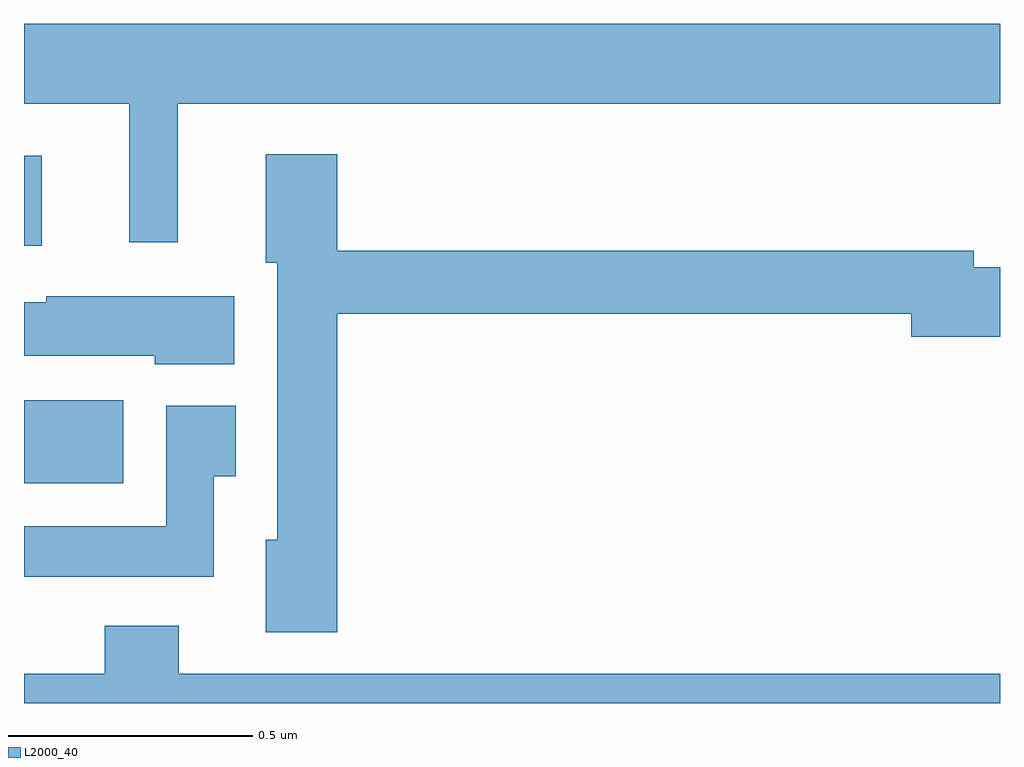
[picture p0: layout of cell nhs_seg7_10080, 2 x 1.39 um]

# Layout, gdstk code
import gdstk
lib = gdstk.Library(unit=1e-6, precision=1e-09)
def R(c, l, rs):  # rectangles x0, y0, x1, y1
    for r in rs: c.add(gdstk.rectangle(r[:2], r[2:], *l))
def P(c, l, *ps):  # polygons
    for p in ps: c.add(gdstk.Polygon(p, *l))
L2000_40 = (2000, 40)

nhs_seg7_10080 = lib.new_cell('nhs_seg7_10080')
R(nhs_seg7_10080, L2000_40, [(245,1054.451,245.203,1054.621), (245,1054.937,245.036,1055.122)])
P(nhs_seg7_10080, L2000_40, [(245.315,1055.228),(247,1055.228),(247,1055.392),(245,1055.392),(245,1055.228),(245.216,1055.228),(245.216,1054.944),(245.315,1054.944)],
  [(245.642,1054.798),(246.818,1054.798),(246.818,1054.751),(247,1054.751),(247,1054.893),(246.946,1054.893),(246.946,1054.927),(245.642,1054.927),(245.642,1055.125),(245.495,1055.125),(245.495,1054.902),(245.519,1054.902),(245.519,1054.335),(245.495,1054.335),(245.495,1054.145),(245.642,1054.145)],
  [(245.431,1054.834),(245.046,1054.834),(245.046,1054.822),(245,1054.822),(245,1054.712),(245.268,1054.712),(245.268,1054.694),(245.431,1054.694)],
  [(245.389,1054.465),(245.434,1054.465),(245.434,1054.609),(245.292,1054.609),(245.292,1054.363),(245,1054.363),(245,1054.259),(245.389,1054.259)],
  [(247,1054.06),(245.317,1054.06),(245.317,1054.159),(245.165,1054.159),(245.165,1054.06),(245,1054.06),(245,1054),(247,1054)])

lib.write_gds('nhs_seg7_10080.gds')
